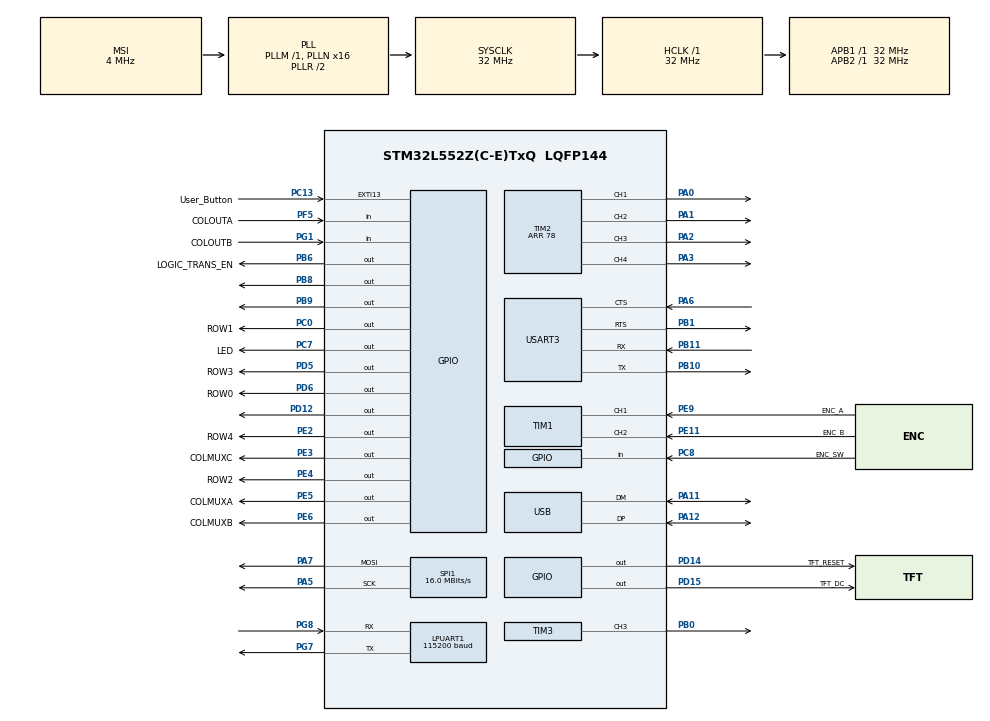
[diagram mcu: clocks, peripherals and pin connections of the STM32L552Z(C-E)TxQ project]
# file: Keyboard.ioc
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Dma.Request0=TIM2_CH4
Dma.Request1=TIM2_CH1
Dma.Request2=TIM2_CH2
Dma.Request3=TIM2_CH3
Dma.Request4=TIM3_CH3
Dma.Request5=SPI1_TX
Dma.SPI1_TX.5.Channel_PRIV_NPRIV=DMA_CHANNEL_NPRIV_DISABLE
Dma.SPI1_TX.5.Direction=DMA_MEMORY_TO_PERIPH
Dma.SPI1_TX.5.EventEnable=DISABLE
Dma.SPI1_TX.5.Instance=DMA1_Channel6
Dma.SPI1_TX.5.MemDataAlignment=DMA_MDATAALIGN_BYTE
Dma.SPI1_TX.5.MemInc=DMA_MINC_ENABLE
Dma.SPI1_TX.5.Mode=DMA_NORMAL
Dma.SPI1_TX.5.PeriphDataAlignment=DMA_PDATAALIGN_BYTE
Dma.SPI1_TX.5.PeriphInc=DMA_PINC_DISABLE
Dma.SPI1_TX.5.Polarity=HAL_DMAMUX_REQ_GEN_RISING
Dma.SPI1_TX.5.Priority=DMA_PRIORITY_LOW
Dma.SPI1_TX.5.RequestNumber=1
Dma.SPI1_TX.5.SignalID=NONE
Dma.SPI1_TX.5.SyncEnable=DISABLE
Dma.SPI1_TX.5.SyncPolarity=HAL_DMAMUX_SYNC_NO_EVENT
Dma.SPI1_TX.5.SyncRequestNumber=1
Dma.SPI1_TX.5.SyncSignalID=NONE
Dma.TIM2_CH1.1.Channel_PRIV_NPRIV=DMA_CHANNEL_NPRIV_DISABLE
Dma.TIM2_CH1.1.Direction=DMA_MEMORY_TO_PERIPH
Dma.TIM2_CH1.1.EventEnable=DISABLE
Dma.TIM2_CH1.1.Instance=DMA1_Channel2
Dma.TIM2_CH1.1.MemDataAlignment=DMA_MDATAALIGN_WORD
Dma.TIM2_CH1.1.MemInc=DMA_MINC_ENABLE
Dma.TIM2_CH1.1.Mode=DMA_NORMAL
Dma.TIM2_CH1.1.PeriphDataAlignment=DMA_PDATAALIGN_WORD
Dma.TIM2_CH1.1.PeriphInc=DMA_PINC_DISABLE
Dma.TIM2_CH1.1.Polarity=HAL_DMAMUX_REQ_GEN_RISING
Dma.TIM2_CH1.1.Priority=DMA_PRIORITY_VERY_HIGH
Dma.TIM2_CH1.1.RequestNumber=1
Dma.TIM2_CH1.1.SignalID=NONE
Dma.TIM2_CH1.1.SyncEnable=DISABLE
Dma.TIM2_CH1.1.SyncPolarity=HAL_DMAMUX_SYNC_NO_EVENT
Dma.TIM2_CH1.1.SyncRequestNumber=1
Dma.TIM2_CH1.1.SyncSignalID=NONE
Dma.TIM2_CH2.2.Channel_PRIV_NPRIV=DMA_CHANNEL_NPRIV_DISABLE
Dma.TIM2_CH2.2.Direction=DMA_MEMORY_TO_PERIPH
Dma.TIM2_CH2.2.EventEnable=DISABLE
Dma.TIM2_CH2.2.Instance=DMA1_Channel3
Dma.TIM2_CH2.2.MemDataAlignment=DMA_MDATAALIGN_WORD
Dma.TIM2_CH2.2.MemInc=DMA_MINC_ENABLE
Dma.TIM2_CH2.2.Mode=DMA_NORMAL
Dma.TIM2_CH2.2.PeriphDataAlignment=DMA_PDATAALIGN_WORD
Dma.TIM2_CH2.2.PeriphInc=DMA_PINC_DISABLE
Dma.TIM2_CH2.2.Polarity=HAL_DMAMUX_REQ_GEN_RISING
Dma.TIM2_CH2.2.Priority=DMA_PRIORITY_VERY_HIGH
Dma.TIM2_CH2.2.RequestNumber=1
Dma.TIM2_CH2.2.SignalID=NONE
Dma.TIM2_CH2.2.SyncEnable=DISABLE
Dma.TIM2_CH2.2.SyncPolarity=HAL_DMAMUX_SYNC_NO_EVENT
Dma.TIM2_CH2.2.SyncRequestNumber=1
Dma.TIM2_CH2.2.SyncSignalID=NONE
Dma.TIM2_CH3.3.Channel_PRIV_NPRIV=DMA_CHANNEL_NPRIV_DISABLE
Dma.TIM2_CH3.3.Direction=DMA_MEMORY_TO_PERIPH
Dma.TIM2_CH3.3.EventEnable=DISABLE
Dma.TIM2_CH3.3.Instance=DMA1_Channel4
Dma.TIM2_CH3.3.MemDataAlignment=DMA_MDATAALIGN_WORD
Dma.TIM2_CH3.3.MemInc=DMA_MINC_ENABLE
Dma.TIM2_CH3.3.Mode=DMA_NORMAL
Dma.TIM2_CH3.3.PeriphDataAlignment=DMA_PDATAALIGN_WORD
Dma.TIM2_CH3.3.PeriphInc=DMA_PINC_DISABLE
Dma.TIM2_CH3.3.Polarity=HAL_DMAMUX_REQ_GEN_RISING
Dma.TIM2_CH3.3.Priority=DMA_PRIORITY_VERY_HIGH
Dma.TIM2_CH3.3.RequestNumber=1
Dma.TIM2_CH3.3.SignalID=NONE
Dma.TIM2_CH3.3.SyncEnable=DISABLE
Dma.TIM2_CH3.3.SyncPolarity=HAL_DMAMUX_SYNC_NO_EVENT
Dma.TIM2_CH3.3.SyncRequestNumber=1
Dma.TIM2_CH3.3.SyncSignalID=NONE
Dma.TIM2_CH4.0.Channel_PRIV_NPRIV=DMA_CHANNEL_NPRIV_DISABLE
Dma.TIM2_CH4.0.Direction=DMA_MEMORY_TO_PERIPH
Dma.TIM2_CH4.0.EventEnable=DISABLE
Dma.TIM2_CH4.0.Instance=DMA1_Channel1
Dma.TIM2_CH4.0.MemDataAlignment=DMA_MDATAALIGN_WORD
Dma.TIM2_CH4.0.MemInc=DMA_MINC_ENABLE
Dma.TIM2_CH4.0.Mode=DMA_NORMAL
Dma.TIM2_CH4.0.PeriphDataAlignment=DMA_PDATAALIGN_WORD
Dma.TIM2_CH4.0.PeriphInc=DMA_PINC_DISABLE
Dma.TIM2_CH4.0.Polarity=HAL_DMAMUX_REQ_GEN_RISING
Dma.TIM2_CH4.0.Priority=DMA_PRIORITY_VERY_HIGH
Dma.TIM2_CH4.0.RequestNumber=1
Dma.TIM2_CH4.0.SignalID=NONE
Dma.TIM2_CH4.0.SyncEnable=DISABLE
Dma.TIM2_CH4.0.SyncPolarity=HAL_DMAMUX_SYNC_NO_EVENT
Dma.TIM2_CH4.0.SyncRequestNumber=1
Dma.TIM2_CH4.0.SyncSignalID=NONE
Dma.TIM3_CH3.4.Channel_PRIV_NPRIV=DMA_CHANNEL_NPRIV_DISABLE
Dma.TIM3_CH3.4.Direction=DMA_MEMORY_TO_PERIPH
Dma.TIM3_CH3.4.EventEnable=DISABLE
Dma.TIM3_CH3.4.Instance=DMA1_Channel5
Dma.TIM3_CH3.4.MemDataAlignment=DMA_MDATAALIGN_WORD
Dma.TIM3_CH3.4.MemInc=DMA_MINC_ENABLE
Dma.TIM3_CH3.4.Mode=DMA_NORMAL
Dma.TIM3_CH3.4.PeriphDataAlignment=DMA_PDATAALIGN_WORD
Dma.TIM3_CH3.4.PeriphInc=DMA_PINC_DISABLE
Dma.TIM3_CH3.4.Polarity=HAL_DMAMUX_REQ_GEN_RISING
Dma.TIM3_CH3.4.Priority=DMA_PRIORITY_VERY_HIGH
Dma.TIM3_CH3.4.RequestNumber=1
Dma.TIM3_CH3.4.SignalID=NONE
Dma.TIM3_CH3.4.SyncEnable=DISABLE
Dma.TIM3_CH3.4.SyncPolarity=HAL_DMAMUX_SYNC_NO_EVENT
Dma.TIM3_CH3.4.SyncRequestNumber=1
Dma.TIM3_CH3.4.SyncSignalID=NONE
LPUART1.BaudRate=115200
Mcu.Family=STM32L5
Mcu.Name=STM32L552Z(C-E)TxQ
Mcu.Package=LQFP144
NVIC.DMA1_Channel1_IRQn=true\:0\:0\:false\:false\:true\:false\:true\:true
NVIC.DMA1_Channel2_IRQn=true\:0\:0\:false\:false\:true\:false\:true\:true
NVIC.DMA1_Channel3_IRQn=true\:0\:0\:false\:false\:true\:false\:true\:true
NVIC.DMA1_Channel4_IRQn=true\:0\:0\:false\:false\:true\:false\:true\:true
NVIC.DMA1_Channel5_IRQn=true\:0\:0\:false\:false\:true\:false\:true\:true
NVIC.DMA1_Channel6_IRQn=true\:0\:0\:false\:false\:true\:false\:true\:true
NVIC.EXTI13_IRQn=true\:0\:0\:false\:false\:true\:true\:true\:true
NVIC.PriorityGroup=NVIC_PRIORITYGROUP_3
NVIC.USB_FS_IRQn=true\:0\:0\:false\:false\:true\:false\:true\:true
PA0.Signal=S_TIM2_CH1
PA1.Signal=S_TIM2_CH2
PA11.Mode=Device
PA11.Signal=USB_DM
PA12.Mode=Device
PA12.Signal=USB_DP
PA2.Signal=S_TIM2_CH3
PA3.Signal=S_TIM2_CH4
PA5.Mode=TX_Only_Simplex_Unidirect_Master
PA5.Signal=SPI1_SCK
PA6.Mode=CTS_RTS
PA6.Signal=USART3_CTS
PA7.Mode=TX_Only_Simplex_Unidirect_Master
PA7.Signal=SPI1_MOSI
PB0.Signal=S_TIM3_CH3
PB1.Mode=CTS_RTS
PB1.Signal=USART3_RTS
PB10.Mode=Asynchronous
PB10.Signal=USART3_TX
PB11.Mode=Asynchronous
PB11.Signal=USART3_RX
PB6.GPIO_Label=LOGIC_TRANS_EN
PB6.GPIO_PuPd=GPIO_PULLDOWN
PB6.Signal=GPIO_Output
PB8.Signal=GPIO_Output
PB9.Signal=GPIO_Output
PC0.GPIO_Label=ROW1
PC0.GPIO_PuPd=GPIO_PULLDOWN
PC0.PinState=GPIO_PIN_RESET
PC0.Signal=GPIO_Output
PC13.GPIO_Label=User_Button
PC13.Signal=GPXTI13
PC7.GPIO_Label=LED
PC7.GPIO_ModeDefaultOutputPP=GPIO_MODE_OUTPUT_PP
PC7.GPIO_PuPd=GPIO_PULLUP
PC7.GPIO_Speed=GPIO_SPEED_FREQ_VERY_HIGH
PC7.PinState=GPIO_PIN_RESET
PC7.Signal=GPIO_Output
PC8.GPIO_Label=ENC_SW
PC8.GPIO_PuPd=GPIO_PULLDOWN
PC8.Signal=GPIO_Input
PD12.Signal=GPIO_Output
PD14.GPIO_Label=TFT_RESET
PD14.Signal=GPIO_Output
PD15.GPIO_Label=TFT_DC
PD15.Signal=GPIO_Output
PD5.GPIO_Label=ROW3
PD5.GPIO_PuPd=GPIO_PULLDOWN
PD5.PinState=GPIO_PIN_RESET
PD5.Signal=GPIO_Output
PD6.GPIO_Label=ROW0
PD6.GPIO_PuPd=GPIO_PULLDOWN
PD6.PinState=GPIO_PIN_RESET
PD6.Signal=GPIO_Output
PE11.GPIO_Label=ENC_B
PE11.Signal=S_TIM1_CH2
PE2.GPIO_Label=ROW4
PE2.GPIO_PuPd=GPIO_PULLDOWN
PE2.PinState=GPIO_PIN_RESET
PE2.Signal=GPIO_Output
PE3.GPIO_Label=COLMUXC
PE3.Signal=GPIO_Output
PE4.GPIO_Label=ROW2
PE4.GPIO_PuPd=GPIO_PULLDOWN
PE4.PinState=GPIO_PIN_RESET
PE4.Signal=GPIO_Output
PE5.GPIO_Label=COLMUXA
PE5.PinState=GPIO_PIN_RESET
PE5.Signal=GPIO_Output
PE6.GPIO_Label=COLMUXB
PE6.Signal=GPIO_Output
PE9.GPIO_Label=ENC_A
PE9.Signal=S_TIM1_CH1
PF5.GPIO_Label=COLOUTA
PF5.Signal=GPIO_Input
PG1.GPIO_Label=COLOUTB
PG1.Signal=GPIO_Input
PG7.Mode=Asynchronous
PG7.Signal=LPUART1_TX
PG8.Mode=Asynchronous
PG8.Signal=LPUART1_RX
ProjectManager.HeapSize=0x200
ProjectManager.StackSize=0x400
ProjectManager.TargetToolchain=STM32CubeIDE
RCC.ADCFreq_Value=48000000
RCC.AHBFreq_Value=32000000
RCC.APB1Freq_Value=32000000
RCC.APB1TimFreq_Value=32000000
RCC.APB2Freq_Value=32000000
RCC.APB2TimFreq_Value=32000000
RCC.CK48CLockSelection=RCC_USBCLKSOURCE_HSI48
RCC.CortexFreq_Value=32000000
RCC.HCLKFreq_Value=32000000
RCC.HSE_VALUE=16000000
RCC.HSI48_VALUE=48000000
RCC.HSI_VALUE=16000000
RCC.LSE_VALUE=32768
RCC.MSI_VALUE=4000000
RCC.PLLN=16
RCC.PLLSAI1N=24
RCC.SYSCLKFreq_VALUE=32000000
RCC.SYSCLKSource=RCC_SYSCLKSOURCE_PLLCLK
RCC.USBFreq_Value=48000000
RCC.VCOOutputFreq_Value=64000000
SH.S_TIM1_CH1.0=TIM1_CH1,Encoder_Interface
SH.S_TIM1_CH2.0=TIM1_CH2,Encoder_Interface
SH.S_TIM2_CH1.0=TIM2_CH1,PWM Generation1 CH1
SH.S_TIM2_CH2.0=TIM2_CH2,PWM Generation2 CH2
SH.S_TIM2_CH3.0=TIM2_CH3,PWM Generation3 CH3
SH.S_TIM2_CH4.0=TIM2_CH4,PWM Generation4 CH4
SH.S_TIM3_CH3.0=TIM3_CH3,PWM Generation3 CH3
SPI1.BaudRatePrescaler=SPI_BAUDRATEPRESCALER_2
SPI1.CLKPolarity=SPI_POLARITY_HIGH
SPI1.CalculateBaudRate=16.0 MBits/s
SPI1.DataSize=SPI_DATASIZE_8BIT
SPI1.Direction=SPI_DIRECTION_2LINES
SPI1.Mode=SPI_MODE_MASTER
SPI1.VirtualType=VM_MASTER
TIM1.AutoReloadPreload=TIM_AUTORELOAD_PRELOAD_ENABLE
TIM1.EncoderMode=TIM_ENCODERMODE_TI2
TIM1.IC1Filter=10
TIM2.Channel-PWM\ Generation1\ CH1=TIM_CHANNEL_1
TIM2.Channel-PWM\ Generation2\ CH2=TIM_CHANNEL_2
TIM2.Channel-PWM\ Generation3\ CH3=TIM_CHANNEL_3
TIM2.Channel-PWM\ Generation4\ CH4=TIM_CHANNEL_4
TIM2.Period=78
TIM3.Channel-PWM\ Generation3\ CH3=TIM_CHANNEL_3
TIM3.Period=78
USART3.VirtualMode-Asynchronous=VM_ASYNC
USB_DEVICE.CLASS_NAME_FS=HID
USB_DEVICE.VirtualMode=Hid
USB_DEVICE.VirtualModeFS=Hid_FS
VP_ICACHE_VS_ICACHE.Mode=DirectMappedCache
VP_PWR_VS_DBSignals.Mode=DisableDeadBatterySignals
VP_PWR_VS_SECSignals.Mode=Security/Privilege
VP_RCC_USB.Mode=CRS SYNC Source USB
VP_TIM2_VS_ClockSourceINT.Mode=Internal
VP_USB_DEVICE_VS_USB_DEVICE_HID_FS.Mode=HID_FS
board=NUCLEO-L552ZE-Q

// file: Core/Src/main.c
/* USER CODE BEGIN Header */
/**
  ******************************************************************************
  * @file           : main.c
  * @brief          : Main program body
  ******************************************************************************
  * @attention
  *
  * Copyright (c) 2024 STMicroelectronics.
  * All rights reserved.
  *
  * This software is licensed under terms that can be found in the LICENSE file
  * in the root directory of this software component.
  * If no LICENSE file comes with this software, it is provided AS-IS.
  *
  ******************************************************************************
  */
/* USER CODE END Header */
#include "main.h"
#include "usb_device.h"

/* USER CODE BEGIN Includes */

#include "st7789.h"

/* USER CODE END Includes */

/* USER CODE BEGIN PTD */

// HID Keyboard
struct keyboardHID_t {
	uint8_t modifiers;
	uint8_t reserved;
	uint8_t key1;
	uint8_t key2;
	uint8_t key3;
	uint8_t key4;
	uint8_t key5;
	uint8_t key6;
	uint8_t media;
};

// SK6812-E
typedef union
{
  struct
  {
    uint8_t g;
    uint8_t r;
    uint8_t b;
  } color;
  uint32_t data;
} PixelRGB_t;

/* USER CODE END PTD */

/* USER CODE BEGIN PD */

#define NUM_ROWS 5

#define NEOPIXEL_ZERO 9
#define NEOPIXEL_ONE 19
#define NUM_PIXELS 14
#define DMA_BUFF_SIZE (NUM_PIXELS * 32) + 1

#define SLEEP_DELAY 30000

//*****************************************************************************
//
// HID Keyboard LED definitions as used in the first byte of the output report
// used in the BIOS keyboard protocol.
//
//*****************************************************************************
#define HID_KEYB_NUM_LOCK       0x01
#define HID_KEYB_CAPS_LOCK      0x02
#define HID_KEYB_SCROLL_LOCK    0x04
#define HID_KEYB_COMPOSE        0x08
#define HID_KEYB_KANA           0x10

//*****************************************************************************
//
// HID Keyboard key modifiers as provided in the first byte of the input report
// used in the BIOS keyboard protocol.
//
//*****************************************************************************
#define HID_KEYB_LEFT_CTRL      0x01
#define HID_KEYB_LEFT_SHIFT     0x02
#define HID_KEYB_LEFT_ALT       0x04
#define HID_KEYB_LEFT_GUI       0x08
#define HID_KEYB_RIGHT_CTRL     0x10
#define HID_KEYB_RIGHT_SHIFT    0x20
#define HID_KEYB_RIGHT_ALT      0x40
#define HID_KEYB_RIGHT_GUI      0x80

//*****************************************************************************
//
// A subset of the HID keyboard usage IDs.
//
//*****************************************************************************
#define HID_KEYB_USAGE_RESERVED 0x00
#define HID_KEYB_USAGE_ROLLOVER 0x01
#define HID_KEYB_USAGE_A        0x04
#define HID_KEYB_USAGE_B        0x05
#define HID_KEYB_USAGE_C        0x06
#define HID_KEYB_USAGE_D        0x07
#define HID_KEYB_USAGE_E        0x08
#define HID_KEYB_USAGE_F        0x09
#define HID_KEYB_USAGE_G        0x0A
#define HID_KEYB_USAGE_H        0x0B
#define HID_KEYB_USAGE_I        0x0C
#define HID_KEYB_USAGE_J        0x0D
#define HID_KEYB_USAGE_K        0x0E
#define HID_KEYB_USAGE_L        0x0F
#define HID_KEYB_USAGE_M        0x10
#define HID_KEYB_USAGE_N        0x11
#define HID_KEYB_USAGE_O        0x12
#define HID_KEYB_USAGE_P        0x13
#define HID_KEYB_USAGE_Q        0x14
#define HID_KEYB_USAGE_R        0x15
#define HID_KEYB_USAGE_S        0x16
#define HID_KEYB_USAGE_T        0x17
#define HID_KEYB_USAGE_U        0x18
#define HID_KEYB_USAGE_V        0x19
#define HID_KEYB_USAGE_W        0x1A
#define HID_KEYB_USAGE_X        0x1B
#define HID_KEYB_USAGE_Y        0x1C
#define HID_KEYB_USAGE_Z        0x1D
#define HID_KEYB_USAGE_1        0x1E
#define HID_KEYB_USAGE_2        0x1F
#define HID_KEYB_USAGE_3        0x20
#define HID_KEYB_USAGE_4        0x21
#define HID_KEYB_USAGE_5        0x22
#define HID_KEYB_USAGE_6        0x23
#define HID_KEYB_USAGE_7        0x24
#define HID_KEYB_USAGE_8        0x25
#define HID_KEYB_USAGE_9        0x26
#define HID_KEYB_USAGE_0        0x27
#define HID_KEYB_USAGE_ENTER    0x28
#define HID_KEYB_USAGE_ESCAPE   0x29
#define HID_KEYB_USAGE_BACKSPACE 0x2A
#define HID_KEYB_USAGE_TAB      0x2B
#define HID_KEYB_USAGE_SPACE    0x2C
#define HID_KEYB_USAGE_MINUS    0x2D
#define HID_KEYB_USAGE_EQUAL    0x2E
#define HID_KEYB_USAGE_LBRACKET 0x2F
#define HID_KEYB_USAGE_RBRACKET 0x30
#define HID_KEYB_USAGE_BSLASH   0x31
#define HID_KEYB_USAGE_SEMICOLON 0x33
#define HID_KEYB_USAGE_FQUOTE   0x34
#define HID_KEYB_USAGE_BQUOTE   0x35
#define HID_KEYB_USAGE_COMMA    0x36
#define HID_KEYB_USAGE_PERIOD   0x37
#define HID_KEYB_USAGE_FSLASH   0x38
#define HID_KEYB_USAGE_CAPSLOCK 0x39
#define HID_KEYB_USAGE_F1       0x3A
#define HID_KEYB_USAGE_F2       0x3B
#define HID_KEYB_USAGE_F3       0x3C
#define HID_KEYB_USAGE_F4       0x3D
#define HID_KEYB_USAGE_F5       0x3E
#define HID_KEYB_USAGE_F6       0x3F
#define HID_KEYB_USAGE_F7       0x40
#define HID_KEYB_USAGE_F8       0x41
#define HID_KEYB_USAGE_F9       0x42
#define HID_KEYB_USAGE_F10      0x43
#define HID_KEYB_USAGE_F11      0x44
#define HID_KEYB_USAGE_F12      0x45
#define HID_KEYB_USAGE_SCROLLOCK   0x47
#define HID_KEYB_USAGE_INSERT	0x49
#define HID_KEYB_USAGE_PAGE_UP  0x4B
#define HID_KEYB_USAGE_DELETE 	0x4C
#define HID_KEYB_USAGE_PAGE_DOWN   0x4E
#define HID_KEYB_USAGE_RIGHT_ARROW 0x4F
#define HID_KEYB_USAGE_LEFT_ARROW 0x50
#define HID_KEYB_USAGE_DOWN_ARROW 0x51
#define HID_KEYB_USAGE_UP_ARROW 0x52
#define HID_KEYB_USAGE_NUMLOCK  0x53
#define HID_KEYB_USAGE_KEYPAD_SLASH  0x54
#define HID_KEYB_USAGE_KEYPAD_STAR 0x55
#define HID_KEYB_USAGE_KEYPAD_MINUS 0x56
#define HID_KEYB_USAGE_KEYPAD_PLUS 0x57
#define HID_KEYB_USAGE_KEPAD_ENTER 0x58
#define HID_KEYB_USAGE_KEYPAD_1 0x59
#define HID_KEYB_USAGE_KEYPAD_2 0x5A
#define HID_KEYB_USAGE_KEYPAD_3 0x5B
#define HID_KEYB_USAGE_KEYPAD_4 0x5C
#define HID_KEYB_USAGE_KEYPAD_5 0x5D
#define HID_KEYB_USAGE_KEYPAD_6 0x5E
#define HID_KEYB_USAGE_KEYPAD_7 0x5F
#define HID_KEYB_USAGE_KEYPAD_8 0x60
#define HID_KEYB_USAGE_KEYPAD_9 0x61
#define HID_KEYB_USAGE_KEYPAD_0 0x62
#define HID_KEYB_USAGE_KEPAD_PERIOD 0x63

#define WINDOWS_KEY 0x65
#define LEFT_SHIFT 0x66
#define RIGHT_SHIFT 0x67
#define LEFT_CTRL 0x68
#define RIGHT_CTRL 0x69
#define LEFT_GUI 0x6A
#define RIGHT_GUI 0x6B
#define LEFT_ALT 0x6C
#define RIGHT_ALT 0x6D
#define CAPS_LOCK 0x6E
#define BLUETOOTH 0x6F
#define PAUSE 0xE8
#define DELETE 0x4C
#define HOME 0x4A
#define END 0x4D
#define INSERT 0x49
#define MUTE 0xEF
#define PREV 0xEA
#define NEXT 0xEB
#define CALC 0xFB
#define VOL_UP 0xE9
#define VOL_DN 0xEA
#define KEY_VOLUMEUP 0xE9 // Keyboard Volume Up
#define KEY_VOLUMEDOWN 0xEA // Keyboard Volume Down
#define APP_A 0xEF
#define APP_B 0xF0
#define FUNC_KEY 0xF1

/* USER CODE END PD */

UART_HandleTypeDef hlpuart1;
UART_HandleTypeDef huart3;

SPI_HandleTypeDef hspi1;
DMA_HandleTypeDef hdma_spi1_tx;

TIM_HandleTypeDef htim1;
TIM_HandleTypeDef htim2;
TIM_HandleTypeDef htim3;
DMA_HandleTypeDef hdma_tim2_ch4;
DMA_HandleTypeDef hdma_tim2_ch1;
DMA_HandleTypeDef hdma_tim2_ch2;
DMA_HandleTypeDef hdma_tim2_ch3;
DMA_HandleTypeDef hdma_tim3_ch3;

/* USER CODE BEGIN PV */

uint8_t High_Perf_Mode = 0;

struct keyboardHID_t keyboardHID = {0,0,0,0,0,0,0,0,0};

uint8_t KeyboardMatrix[3][5][14] = {
	{{HID_KEYB_USAGE_ESCAPE,  HID_KEYB_USAGE_1, HID_KEYB_USAGE_2, HID_KEYB_USAGE_3, HID_KEYB_USAGE_4, HID_KEYB_USAGE_5, HID_KEYB_USAGE_6, HID_KEYB_USAGE_7, HID_KEYB_USAGE_8, HID_KEYB_USAGE_9, HID_KEYB_USAGE_0, HID_KEYB_USAGE_MINUS, HID_KEYB_USAGE_EQUAL, HID_KEYB_USAGE_BACKSPACE},
    {HID_KEYB_USAGE_TAB, HID_KEYB_USAGE_Q, HID_KEYB_USAGE_W, HID_KEYB_USAGE_E, HID_KEYB_USAGE_R, HID_KEYB_USAGE_T, HID_KEYB_USAGE_Y, HID_KEYB_USAGE_U, HID_KEYB_USAGE_I, HID_KEYB_USAGE_O, HID_KEYB_USAGE_P, HID_KEYB_USAGE_LBRACKET, HID_KEYB_USAGE_RBRACKET, HID_KEYB_USAGE_BSLASH},
    {HID_KEYB_USAGE_CAPSLOCK, HID_KEYB_USAGE_A, HID_KEYB_USAGE_S, HID_KEYB_USAGE_D, HID_KEYB_USAGE_F, HID_KEYB_USAGE_G, HID_KEYB_USAGE_H, HID_KEYB_USAGE_J, HID_KEYB_USAGE_K, HID_KEYB_USAGE_L, HID_KEYB_USAGE_SEMICOLON, HID_KEYB_USAGE_FQUOTE, HID_KEYB_USAGE_ENTER, HID_KEYB_USAGE_UP_ARROW},
    {LEFT_SHIFT, HID_KEYB_USAGE_Z, HID_KEYB_USAGE_X, HID_KEYB_USAGE_C, HID_KEYB_USAGE_V, HID_KEYB_USAGE_B, HID_KEYB_USAGE_N, HID_KEYB_USAGE_M, HID_KEYB_USAGE_COMMA, HID_KEYB_USAGE_PERIOD, HID_KEYB_USAGE_FSLASH, RIGHT_SHIFT, HID_KEYB_USAGE_LEFT_ARROW, HID_KEYB_USAGE_DOWN_ARROW},
    {LEFT_CTRL, LEFT_GUI, LEFT_ALT, 0, 0, HID_KEYB_USAGE_SPACE, 0, 0, 0, RIGHT_ALT, FUNC_KEY, HID_KEYB_RIGHT_GUI, RIGHT_CTRL, HID_KEYB_USAGE_RIGHT_ARROW}},

	{{HID_KEYB_USAGE_BQUOTE,  HID_KEYB_USAGE_1, HID_KEYB_USAGE_2, HID_KEYB_USAGE_3, HID_KEYB_USAGE_4, HID_KEYB_USAGE_5, HID_KEYB_USAGE_6, HID_KEYB_USAGE_7, HID_KEYB_USAGE_8, HID_KEYB_USAGE_9, HID_KEYB_USAGE_0, HID_KEYB_USAGE_MINUS, HID_KEYB_USAGE_EQUAL, HID_KEYB_USAGE_BACKSPACE},
	{HID_KEYB_USAGE_TAB, HID_KEYB_USAGE_Q, HID_KEYB_USAGE_W, HID_KEYB_USAGE_E, HID_KEYB_USAGE_R, HID_KEYB_USAGE_T, HID_KEYB_USAGE_Y, HID_KEYB_USAGE_U, HID_KEYB_USAGE_I, HID_KEYB_USAGE_O, HID_KEYB_USAGE_P, HID_KEYB_USAGE_LBRACKET, HID_KEYB_USAGE_RBRACKET, HID_KEYB_USAGE_BSLASH},
	{HID_KEYB_USAGE_CAPSLOCK, HID_KEYB_USAGE_A, HID_KEYB_USAGE_S, HID_KEYB_USAGE_D, HID_KEYB_USAGE_F, HID_KEYB_USAGE_G, HID_KEYB_USAGE_H, HID_KEYB_USAGE_J, HID_KEYB_USAGE_K, HID_KEYB_USAGE_L, HID_KEYB_USAGE_SEMICOLON, HID_KEYB_USAGE_FQUOTE, HID_KEYB_USAGE_ENTER, HID_KEYB_USAGE_UP_ARROW},
	{LEFT_SHIFT, HID_KEYB_USAGE_Z, HID_KEYB_USAGE_X, HID_KEYB_USAGE_C, HID_KEYB_USAGE_V, HID_KEYB_USAGE_B, HID_KEYB_USAGE_N, HID_KEYB_USAGE_M, HID_KEYB_USAGE_COMMA, HID_KEYB_USAGE_PERIOD, HID_KEYB_USAGE_FSLASH, RIGHT_SHIFT, HID_KEYB_USAGE_LEFT_ARROW, HID_KEYB_USAGE_DOWN_ARROW},
	{LEFT_CTRL, LEFT_GUI, LEFT_ALT, 0, 0, HID_KEYB_USAGE_SPACE, 0, 0, 0, RIGHT_ALT, FUNC_KEY, HID_KEYB_RIGHT_GUI, RIGHT_CTRL, HID_KEYB_USAGE_RIGHT_ARROW}},

	{{HID_KEYB_USAGE_BQUOTE,  HID_KEYB_USAGE_F1, HID_KEYB_USAGE_F2, HID_KEYB_USAGE_F3, HID_KEYB_USAGE_F4, HID_KEYB_USAGE_F5, HID_KEYB_USAGE_F6, HID_KEYB_USAGE_F7, HID_KEYB_USAGE_F8, HID_KEYB_USAGE_F9, HID_KEYB_USAGE_F10, HID_KEYB_USAGE_F11, HID_KEYB_USAGE_F12, HID_KEYB_USAGE_DELETE},
	{HID_KEYB_USAGE_TAB, HID_KEYB_USAGE_Q, HID_KEYB_USAGE_W, HID_KEYB_USAGE_E, HID_KEYB_USAGE_R, HID_KEYB_USAGE_T, HID_KEYB_USAGE_Y, HID_KEYB_USAGE_U, HID_KEYB_USAGE_I, HID_KEYB_USAGE_O, HID_KEYB_USAGE_P, HID_KEYB_USAGE_LBRACKET, HID_KEYB_USAGE_RBRACKET, HID_KEYB_USAGE_BSLASH},
	{HID_KEYB_USAGE_CAPSLOCK, HID_KEYB_USAGE_A, HID_KEYB_USAGE_S, HID_KEYB_USAGE_D, HID_KEYB_USAGE_F, HID_KEYB_USAGE_G, HID_KEYB_USAGE_H, HID_KEYB_USAGE_J, HID_KEYB_USAGE_K, HID_KEYB_USAGE_L, HID_KEYB_USAGE_SEMICOLON, HID_KEYB_USAGE_FQUOTE, HID_KEYB_USAGE_ENTER, HID_KEYB_USAGE_UP_ARROW},
	{LEFT_SHIFT, HID_KEYB_USAGE_Z, HID_KEYB_USAGE_X, HID_KEYB_USAGE_C, HID_KEYB_USAGE_V, HID_KEYB_USAGE_B, HID_KEYB_USAGE_N, HID_KEYB_USAGE_M, HID_KEYB_USAGE_COMMA, HID_KEYB_USAGE_PERIOD, HID_KEYB_USAGE_FSLASH, RIGHT_SHIFT, HID_KEYB_USAGE_LEFT_ARROW, HID_KEYB_USAGE_DOWN_ARROW},
	{LEFT_CTRL, LEFT_GUI, LEFT_ALT, 0, 0, HID_KEYB_USAGE_SPACE, 0, 0, 0, RIGHT_ALT, FUNC_KEY, HID_KEYB_RIGHT_GUI, RIGHT_CTRL, HID_KEYB_USAGE_RIGHT_ARROW}},
  };

uint8_t matrix[5][14][6] = {
		{"Esc", "1", "2", "3", "4", "5", "6", "7", "8", "9", "0", "=", "-", "Back"},
		{"Tab","Q","W","E","R","T","Y","U","I","O","P","[","]","\\"},
		{"Caps","A","S","D","F","G","H","J","K","L",";","'","\n\r","Up"},
		{"LShift","Z","X","C","V","B","N","M",",",".","/","RShift","Left","Down"},
		{"LCtrl","Win","LAlt","", "", " ","","","", "RAlt","Fn","Menu","RCtrl","Right"},
};

uint8_t currentLayer = 0;

/* USER CODE END PV */

void SystemClock_Config(void);
static void MX_GPIO_Init(void);
static void MX_DMA_Init(void);
static void MX_ICACHE_Init(void);
static void MX_LPUART1_UART_Init(void);
static void MX_TIM2_Init(void);
static void MX_TIM3_Init(void);
static void MX_USART3_UART_Init(void);
static void MX_SPI1_Init(void);
static void MX_TIM1_Init(void);

/* USER CODE BEGIN 0 */

void HAL_TIM_PWM_PulseFinishedCallback(TIM_HandleTypeDef *htim)
{
	if (htim->Channel == HAL_TIM_ACTIVE_CHANNEL_1){
		HAL_TIM_PWM_Stop_DMA(htim, TIM_CHANNEL_1);
	} else if (htim->Channel == HAL_TIM_ACTIVE_CHANNEL_2){
		HAL_TIM_PWM_Stop_DMA(htim, TIM_CHANNEL_2);
	} else if (htim->Channel == HAL_TIM_ACTIVE_CHANNEL_3){
		HAL_TIM_PWM_Stop_DMA(htim, TIM_CHANNEL_3);
	} else if (htim->Channel == HAL_TIM_ACTIVE_CHANNEL_4){
		HAL_TIM_PWM_Stop_DMA(htim, TIM_CHANNEL_4);
	}
}

void AddKeyToPressedList(uint8_t keycode) {

  for (int i = 2; i < 8; i++){
    //
    // Is this key already included in the list of keys in the pressed
    // state?
    //
    if (((uint8_t*)&keyboardHID)[i] == keycode){
      //
      // Yes - drop out.
      //
      return;
    }
  }

  // not already holding, so lets add it!

  for (int i = 2; i < 8; i++){
      if (((uint8_t*)&keyboardHID)[i] == 0){
    	  ((uint8_t*)&keyboardHID)[i] = keycode;
    	  return;
      }
  }
}

void RemoveKeyFromPressedList(uint8_t keycode) {
  //
  // Find the usage code in the current list.
  //
  for (int i = 2; i < 8; i++)
  {
    if (((uint8_t*)&keyboardHID)[i] == keycode)
    {
      // found the key, shuffle everything rightward
		for (int j = i + 1; j < 8; j++){
			((uint8_t*)&keyboardHID)[j-1] = ((uint8_t*)&keyboardHID)[j];
		}
		((uint8_t*)&keyboardHID)[7] = 0; // remove a possible duplicate
  }
}
}

void PressKey(uint8_t c)
{

  switch (c)
  {
  case LEFT_SHIFT:
	keyboardHID.modifiers |= HID_KEYB_LEFT_SHIFT;
	currentLayer = 1;
    break;
  case RIGHT_SHIFT:
	keyboardHID.modifiers |= HID_KEYB_RIGHT_SHIFT;
    break;
  case LEFT_CTRL:
	  keyboardHID.modifiers |= HID_KEYB_LEFT_CTRL;
    break;
  case RIGHT_CTRL:
	  keyboardHID.modifiers |= HID_KEYB_RIGHT_CTRL;
    break;
  case LEFT_ALT:
	  keyboardHID.modifiers |= HID_KEYB_LEFT_ALT;
    break;
  case RIGHT_ALT:
	  keyboardHID.modifiers |= HID_KEYB_RIGHT_ALT;
    break;
  case LEFT_GUI:
	  keyboardHID.modifiers |= HID_KEYB_LEFT_GUI;
    break;
  case RIGHT_GUI:
	  keyboardHID.modifiers |= HID_KEYB_RIGHT_GUI;
    break;
  case CAPS_LOCK:
    //LockKeyToggle((void *)&g_sKeyboardDevice, HID_KEYB_CAPS_LOCK);
    break;
  case BLUETOOTH:
    //ToggleBluetooth();
    break;
  case FUNC_KEY:
	  currentLayer = 2;
	  return;
  case APP_A:
  case APP_B:
    return;
  case KEY_VOLUMEUP:
  case KEY_VOLUMEDOWN:
	  keyboardHID.media = c;
	  return;
  default:
	  AddKeyToPressedList(c);
    //KeyStateChange((void *)&g_sKeyboardDevice, modifierFlags, c, true);
    return;
  }
}

void ReleaseKey(uint8_t c)
{

  switch (c)
  {
  case LEFT_SHIFT:
	  keyboardHID.modifiers &= ~HID_KEYB_LEFT_SHIFT;
	  if (!(keyboardHID.modifiers & HID_KEYB_RIGHT_SHIFT)){
	      	currentLayer = 0;
	  }
    break;
  case RIGHT_SHIFT:
	  keyboardHID.modifiers &= ~HID_KEYB_RIGHT_SHIFT;
	  if (!(keyboardHID.modifiers & HID_KEYB_LEFT_SHIFT)){
			currentLayer = 0;
	  }
    break;
  case LEFT_CTRL:
	  keyboardHID.modifiers &= ~HID_KEYB_LEFT_CTRL;
    break;
  case RIGHT_CTRL:
	  keyboardHID.modifiers &= ~HID_KEYB_RIGHT_CTRL;
    break;
  case LEFT_ALT:
	  keyboardHID.modifiers &= ~HID_KEYB_LEFT_ALT;
    break;
  case RIGHT_ALT:
	  keyboardHID.modifiers &= ~HID_KEYB_RIGHT_ALT;
    break;
  case LEFT_GUI:
	  keyboardHID.modifiers &= ~HID_KEYB_LEFT_GUI;
    break;
  case RIGHT_GUI:
	  keyboardHID.modifiers &= ~HID_KEYB_RIGHT_GUI;
    break;
  case FUNC_KEY:
  	  currentLayer = 0;
  	  return;
  case APP_A:
  case APP_B:
    return;
  case KEY_VOLUMEUP:
  case KEY_VOLUMEDOWN:
	  keyboardHID.media = 0;
	  return;
  default:
	  RemoveKeyFromPressedList(c);
    return;
  }
}

/* USER CODE END 0 */

int main(void)
{

  /* USER CODE BEGIN 1 */

	PixelRGB_t pixel[NUM_ROWS][NUM_PIXELS] = {0};
	  uint32_t dmaBuffer[NUM_ROWS][DMA_BUFF_SIZE] = {0};
	  uint32_t *pBuff;
	  int i, j, k;
	  uint16_t stepSize;

  /* USER CODE END 1 */

  /* MCU Configuration--------------------------------------------------------*/

  /* Reset of all peripherals, Initializes the Flash interface and the Systick. */
  HAL_Init();

  /* Configure the system clock */
  SystemClock_Config();

  /* Initialize all configured peripherals */
  MX_GPIO_Init();
  MX_DMA_Init();
  MX_ICACHE_Init();
  MX_LPUART1_UART_Init();
  MX_USB_Device_Init();
  MX_TIM2_Init();
  MX_TIM3_Init();
  MX_USART3_UART_Init();
  MX_SPI1_Init();
  MX_TIM1_Init();
  /* USER CODE BEGIN 2 */
  USBD_HandleTypeDef* device = MX_USB_Device_Init();
  uint8_t lastState[5][14];
   uint8_t lastLastState[5][14];
   uint8_t MSG[75] = {'\0'};

   int count = 0;

   HAL_TIM_Encoder_Start(&htim1, TIM_CHANNEL_ALL);

  ST7789_Init();

  HAL_GPIO_TogglePin(GPIOC, GPIO_PIN_7);

  /* USER CODE END 2 */

  /* Infinite loop */
  /* USER CODE BEGIN WHILE */

  //ST7789_Test();
  ST7789_DrawImage(0, 0, 320, 172, (uint16_t *)subaru);

   HAL_GPIO_WritePin(LOGIC_TRANS_EN_GPIO_Port, LOGIC_TRANS_EN_Pin, GPIO_PIN_SET);

   int timeSinceLastPress = 0;

   	   k = 0;
     stepSize = 3;

     uint8_t LED_Off = 0;

     int lastEncVal = 0;

    while (1){
   	uint8_t wrote = 0;
   	HAL_GPIO_WritePin(GPIOB, GPIO_PIN_8, GPIO_PIN_SET);
   	HAL_GPIO_TogglePin(GPIOC, GPIO_PIN_7);

   	//ReleaseKey(KEY_VOLUMEUP);
   	//ReleaseKey(KEY_VOLUMEDOWN);

   	int16_t encVal = (int16_t) TIM1->CNT;

   	if (encVal < lastEncVal){
   		sprintf(MSG, "%d Volume Up, Encoder Ticks = %d\n\r", count, encVal);
		HAL_UART_Transmit(&hlpuart1, MSG, sizeof(MSG), 100);
		PressKey(KEY_VOLUMEUP);
   	} else if (encVal > lastEncVal){
   		sprintf(MSG, "%d Volume Down, Encoder Ticks = %d\n\r", count, encVal);
		HAL_UART_Transmit(&hlpuart1, MSG, sizeof(MSG), 100);
		PressKey(KEY_VOLUMEDOWN);
   	}

   	lastEncVal = encVal;
   	count++;

   	// iterate through all rows and columns
   for (int row = 0; row < 5; row++){

   	       	//HAL_GPIO_WritePin(ROW0_GPIO_Port, ROW0_Pin, GPIO_PIN_SET);

	  HAL_GPIO_WritePin(ROW0_GPIO_Port, ROW0_Pin, GPIO_PIN_RESET);
	  HAL_GPIO_WritePin(ROW1_GPIO_Port, ROW1_Pin, GPIO_PIN_RESET);
	  HAL_GPIO_WritePin(ROW2_GPIO_Port, ROW2_Pin, GPIO_PIN_RESET);
	  HAL_GPIO_WritePin(ROW3_GPIO_Port, ROW3_Pin, GPIO_PIN_RESET);
	  HAL_GPIO_WritePin(ROW4_GPIO_Port, ROW4_Pin, GPIO_PIN_RESET);

		switch (row){
			case 0:
				HAL_GPIO_WritePin(ROW0_GPIO_Port, ROW0_Pin, GPIO_PIN_SET);
				break;
			case 1:
				HAL_GPIO_WritePin(ROW1_GPIO_Port, ROW1_Pin, GPIO_PIN_SET);
				break;
			case 2:
				HAL_GPIO_WritePin(ROW2_GPIO_Port, ROW2_Pin, GPIO_PIN_SET);
				break;
			case 3:
				HAL_GPIO_WritePin(ROW3_GPIO_Port, ROW3_Pin, GPIO_PIN_SET);
				break;
			case 4:
				HAL_GPIO_WritePin(ROW4_GPIO_Port, ROW4_Pin, GPIO_PIN_SET);
				break;
		}

		for (int col = 0; col < 14; col += 2){

			// write to muxes

			HAL_GPIO_WritePin(COLMUXA_GPIO_Port, COLMUXA_Pin, (col >> 1) & 0b001);
			HAL_GPIO_WritePin(COLMUXB_GPIO_Port, COLMUXB_Pin, (col >> 1) & 0b010);
			HAL_GPIO_WritePin(COLMUXC_GPIO_Port, COLMUXC_Pin, (col >> 1) & 0b100);

			uint8_t colA = HAL_GPIO_ReadPin(COLOUTA_GPIO_Port, COLOUTA_Pin);
			uint8_t colB = HAL_GPIO_ReadPin(COLOUTB_GPIO_Port, COLOUTB_Pin);

			// read from muxes
			if (colA && lastState[row][col + 0] == 1 && lastLastState[row][col + 0] == 0){
				timeSinceLastPress = 0;
				PressKey(KeyboardMatrix[currentLayer][row][col + 0]);
				//HAL_UART_Transmit(&hlpuart1, matrix[row][col + 0], sizeof(matrix[row][col + 0]), 100);
				//HAL_UART_Transmit(&hlpuart1, " ", sizeof(" "), 100)
			} else if (!colA && lastState[row][col + 0] == 0 && lastLastState[row][col + 0] == 1){
				timeSinceLastPress = 0;
				ReleaseKey(KeyboardMatrix[currentLayer][row][col + 0]);
			}

			if (colB && lastState[row][col + 1] == 1 && lastLastState[row][col + 1] == 0){
				timeSinceLastPress = 0;
				PressKey(KeyboardMatrix[currentLayer][row][col + 1]);
				//HAL_UART_Transmit(&hlpuart1, matrix[row][col + 1], sizeof(matrix[row][col + 1]), 100);
				//HAL_UART_Transmit(&hlpuart1, " ", sizeof(" "), 100);
			} else if (!colB && lastState[row][col + 1] == 0 && lastLastState[row][col + 1] == 1){
				timeSinceLastPress = 0;
				ReleaseKey(KeyboardMatrix[currentLayer][row][col + 1]);
			}

			lastLastState[row][col + 0] = lastState[row][col + 0];
			lastLastState[row][col + 1] = lastState[row][col + 1];
			lastState[row][col + 0] = colA;
			lastState[row][col + 1] = colB;
		}
	   }

	   HAL_GPIO_WritePin(GPIOB, GPIO_PIN_8, GPIO_PIN_RESET);

	   USBD_HID_SendReport(device, &keyboardHID, sizeof(struct keyboardHID_t));

	   HAL_GPIO_WritePin(GPIOB, GPIO_PIN_9, GPIO_PIN_SET);
	   // LEDs

	   // turnoff LEDs if we are inactive
	   if (!High_Perf_Mode && timeSinceLastPress++ < SLEEP_DELAY){
		   LED_Off = 0;

		   k = (k + stepSize) % 765;

		   	   for (int x = 0; x < NUM_ROWS; x++){

		   		   if (k < 255)
		   		   {
		   			 pixel[x][0].color.g = 254 - k; //[254, 0]
		   			 pixel[x][0].color.r =  k + 1;  //[1, 255]
		   			 pixel[x][0].color.b = 0;
		   		   }
		   		   else if (k < 510)
		   		   {
		   			 pixel[x][0].color.g = 0;
		   			 pixel[x][0].color.r = 509 - k; //[254, 0]
		   			 pixel[x][0].color.b = k - 254; //[1, 255]
		   			 j++;
		   		   }
		   		   else if (k < 765)
		   		   {
		   			 pixel[x][0].color.g = k - 509; //[1, 255];
		   			 pixel[x][0].color.r = 0;
		   			 pixel[x][0].color.b = 764 - k; //[254, 0]
		   		   }

		   			//not so bright
		   		   pixel[x][0].color.g >>= 4;
		   		   pixel[x][0].color.r >>= 4;
		   		   pixel[x][0].color.b >>= 4;

		   		   pBuff = dmaBuffer[x];
		   		   for (i = 0; i < NUM_PIXELS; i++)
		   		   {
		   			  for (j = 23; j >= 0; j--)
		   			  {
		   				if ((pixel[x][i].data >> j) & 0x01)
		   				{
		   				  *pBuff = NEOPIXEL_ONE;
		   				}
		   				else
		   				{
		   				  *pBuff = NEOPIXEL_ZERO;
		   				}
		   				pBuff++;
		   			}
		   		   }
		   		   dmaBuffer[x][DMA_BUFF_SIZE - 1] = 0; // last element must be 0!

		   		   switch (x){
		   			   case 0: // ROW0 = PA3 = T2C4
		   				   HAL_TIM_PWM_Start_DMA(&htim2, TIM_CHANNEL_4, dmaBuffer[x], DMA_BUFF_SIZE);
		   				   break;
		   			   case 1: // ROW1 = PA2 = T2C3
		   				   HAL_TIM_PWM_Start_DMA(&htim2, TIM_CHANNEL_3, dmaBuffer[x], DMA_BUFF_SIZE);
		   				   break;
		   			   case 2: // ROW2 = PA1 = T2C2
		   				   HAL_TIM_PWM_Start_DMA(&htim2, TIM_CHANNEL_2, dmaBuffer[x], DMA_BUFF_SIZE);
		   				   break;
		   			   case 3: // ROW3 = PB0 = T3C3
		   				   HAL_TIM_PWM_Start_DMA(&htim3, TIM_CHANNEL_3, dmaBuffer[x], DMA_BUFF_SIZE);
		   				   break;
		   			   case 4: // ROW4 = PA0 = T2C1
		   				   HAL_TIM_PWM_Start_DMA(&htim2, TIM_CHANNEL_1, dmaBuffer[x], DMA_BUFF_SIZE);
		   				   break;
		   		   }

		   		   for (i = (NUM_PIXELS - 1); i > 0; i--)
		   		   {
		   			 pixel[x][i].data = pixel[x][i - 1].data;
		   		   }

		   	 }

	   } else {

		   if (!LED_Off){

			   LED_Off = 1;

			   uint32_t buff[DMA_BUFF_SIZE];
			   uint32_t* p = buff;
			   for (i = 0; i < NUM_PIXELS; i++)
			   {
				  for (j = 23; j >= 0; j--)
				  {
					  *p = NEOPIXEL_ZERO;
					p++;
				}
			   }
			   buff[DMA_BUFF_SIZE - 1] = 0; // last element must be 0!

			   HAL_TIM_PWM_Start_DMA(&htim2, TIM_CHANNEL_1, buff, DMA_BUFF_SIZE);
			   HAL_TIM_PWM_Start_DMA(&htim2, TIM_CHANNEL_2, buff, DMA_BUFF_SIZE);
			   HAL_TIM_PWM_Start_DMA(&htim2, TIM_CHANNEL_3, buff, DMA_BUFF_SIZE);
			   HAL_TIM_PWM_Start_DMA(&htim2, TIM_CHANNEL_4, buff, DMA_BUFF_SIZE);
			   HAL_TIM_PWM_Start_DMA(&htim3, TIM_CHANNEL_3, buff, DMA_BUFF_SIZE);

			   HAL_Delay(10);

			   HAL_TIM_PWM_Stop_DMA(&htim2, TIM_CHANNEL_1);
			   HAL_TIM_PWM_Stop_DMA(&htim2, TIM_CHANNEL_2);
			   HAL_TIM_PWM_Stop_DMA(&htim2, TIM_CHANNEL_3);
			   HAL_TIM_PWM_Stop_DMA(&htim2, TIM_CHANNEL_4);
			   HAL_TIM_PWM_Stop_DMA(&htim3, TIM_CHANNEL_3);
		   }
	   }

	   HAL_GPIO_WritePin(GPIOB, GPIO_PIN_9, GPIO_PIN_RESET);

	   if (!High_Perf_Mode){
	   HAL_Delay(5);
	   }

    /* USER CODE END WHILE */

  }
}

void SystemClock_Config(void)
{
  RCC_OscInitTypeDef RCC_OscInitStruct = {0};
  RCC_ClkInitTypeDef RCC_ClkInitStruct = {0};
  RCC_CRSInitTypeDef RCC_CRSInitStruct = {0};

  /** Configure the main internal regulator output voltage
  */
  if (HAL_PWREx_ControlVoltageScaling(PWR_REGULATOR_VOLTAGE_SCALE1) != HAL_OK)
  {
    Error_Handler();
  }

  /** Initializes the RCC Oscillators according to the specified parameters
  * in the RCC_OscInitTypeDef structure.
  */
  RCC_OscInitStruct.OscillatorType = RCC_OSCILLATORTYPE_HSI48|RCC_OSCILLATORTYPE_MSI;
  RCC_OscInitStruct.HSI48State = RCC_HSI48_ON;
  RCC_OscInitStruct.MSIState = RCC_MSI_ON;
  RCC_OscInitStruct.MSICalibrationValue = RCC_MSICALIBRATION_DEFAULT;
  RCC_OscInitStruct.MSIClockRange = RCC_MSIRANGE_6;
  RCC_OscInitStruct.PLL.PLLState = RCC_PLL_ON;
  RCC_OscInitStruct.PLL.PLLSource = RCC_PLLSOURCE_MSI;
  RCC_OscInitStruct.PLL.PLLM = 1;
  RCC_OscInitStruct.PLL.PLLN = 16;
  RCC_OscInitStruct.PLL.PLLP = RCC_PLLP_DIV7;
  RCC_OscInitStruct.PLL.PLLQ = RCC_PLLQ_DIV2;
  RCC_OscInitStruct.PLL.PLLR = RCC_PLLR_DIV2;
  if (HAL_RCC_OscConfig(&RCC_OscInitStruct) != HAL_OK)
  {
    Error_Handler();
  }

  /** Initializes the CPU, AHB and APB buses clocks
  */
  RCC_ClkInitStruct.ClockType = RCC_CLOCKTYPE_HCLK|RCC_CLOCKTYPE_SYSCLK
                              |RCC_CLOCKTYPE_PCLK1|RCC_CLOCKTYPE_PCLK2;
  RCC_ClkInitStruct.SYSCLKSource = RCC_SYSCLKSOURCE_PLLCLK;
  RCC_ClkInitStruct.AHBCLKDivider = RCC_SYSCLK_DIV1;
  RCC_ClkInitStruct.APB1CLKDivider = RCC_HCLK_DIV1;
  RCC_ClkInitStruct.APB2CLKDivider = RCC_HCLK_DIV1;

  if (HAL_RCC_ClockConfig(&RCC_ClkInitStruct, FLASH_LATENCY_1) != HAL_OK)
  {
    Error_Handler();
  }

  /** Enable the SYSCFG APB clock
  */
  __HAL_RCC_CRS_CLK_ENABLE();

  /** Configures CRS
  */
  RCC_CRSInitStruct.Prescaler = RCC_CRS_SYNC_DIV1;
  RCC_CRSInitStruct.Source = RCC_CRS_SYNC_SOURCE_USB;
  RCC_CRSInitStruct.Polarity = RCC_CRS_SYNC_POLARITY_RISING;
  RCC_CRSInitStruct.ReloadValue = __HAL_RCC_CRS_RELOADVALUE_CALCULATE(48000000,1000);
  RCC_CRSInitStruct.ErrorLimitValue = 34;
  RCC_CRSInitStruct.HSI48CalibrationValue = 32;

  HAL_RCCEx_CRSConfig(&RCC_CRSInitStruct);
}

static void MX_ICACHE_Init(void)
{

  /** Enable instruction cache in 1-way (direct mapped cache)
  */
  if (HAL_ICACHE_ConfigAssociativityMode(ICACHE_1WAY) != HAL_OK)
  {
    Error_Handler();
  }
  if (HAL_ICACHE_Enable() != HAL_OK)
  {
    Error_Handler();
  }

}

static void MX_LPUART1_UART_Init(void)
{

  hlpuart1.Instance = LPUART1;
  hlpuart1.Init.BaudRate = 115200;
  hlpuart1.Init.WordLength = UART_WORDLENGTH_8B;
  hlpuart1.Init.StopBits = UART_STOPBITS_1;
  hlpuart1.Init.Parity = UART_PARITY_NONE;
  hlpuart1.Init.Mode = UART_MODE_TX_RX;
  hlpuart1.Init.HwFlowCtl = UART_HWCONTROL_NONE;
  hlpuart1.Init.OneBitSampling = UART_ONE_BIT_SAMPLE_DISABLE;
  hlpuart1.Init.ClockPrescaler = UART_PRESCALER_DIV1;
  hlpuart1.AdvancedInit.AdvFeatureInit = UART_ADVFEATURE_NO_INIT;
  hlpuart1.FifoMode = UART_FIFOMODE_DISABLE;
  if (HAL_UART_Init(&hlpuart1) != HAL_OK)
  {
    Error_Handler();
  }
  if (HAL_UARTEx_SetTxFifoThreshold(&hlpuart1, UART_TXFIFO_THRESHOLD_1_8) != HAL_OK)
  {
    Error_Handler();
  }
  if (HAL_UARTEx_SetRxFifoThreshold(&hlpuart1, UART_RXFIFO_THRESHOLD_1_8) != HAL_OK)
  {
    Error_Handler();
  }
  if (HAL_UARTEx_DisableFifoMode(&hlpuart1) != HAL_OK)
  {
    Error_Handler();
  }

}

static void MX_USART3_UART_Init(void)
{

  huart3.Instance = USART3;
  huart3.Init.BaudRate = 115200;
  huart3.Init.WordLength = UART_WORDLENGTH_8B;
  huart3.Init.StopBits = UART_STOPBITS_1;
  huart3.Init.Parity = UART_PARITY_NONE;
  huart3.Init.Mode = UART_MODE_TX_RX;
  huart3.Init.HwFlowCtl = UART_HWCONTROL_RTS_CTS;
  huart3.Init.OverSampling = UART_OVERSAMPLING_16;
  huart3.Init.OneBitSampling = UART_ONE_BIT_SAMPLE_DISABLE;
  huart3.Init.ClockPrescaler = UART_PRESCALER_DIV1;
  huart3.AdvancedInit.AdvFeatureInit = UART_ADVFEATURE_NO_INIT;
  if (HAL_UART_Init(&huart3) != HAL_OK)
  {
    Error_Handler();
  }
  if (HAL_UARTEx_SetTxFifoThreshold(&huart3, UART_TXFIFO_THRESHOLD_1_8) != HAL_OK)
  {
    Error_Handler();
  }
  if (HAL_UARTEx_SetRxFifoThreshold(&huart3, UART_RXFIFO_THRESHOLD_1_8) != HAL_OK)
  {
    Error_Handler();
  }
  if (HAL_UARTEx_DisableFifoMode(&huart3) != HAL_OK)
  {
    Error_Handler();
  }

}

static void MX_SPI1_Init(void)
{

  /* SPI1 parameter configuration*/
  hspi1.Instance = SPI1;
  hspi1.Init.Mode = SPI_MODE_MASTER;
  hspi1.Init.Direction = SPI_DIRECTION_2LINES;
  hspi1.Init.DataSize = SPI_DATASIZE_8BIT;
  hspi1.Init.CLKPolarity = SPI_POLARITY_HIGH;
  hspi1.Init.CLKPhase = SPI_PHASE_1EDGE;
  hspi1.Init.NSS = SPI_NSS_SOFT;
  hspi1.Init.BaudRatePrescaler = SPI_BAUDRATEPRESCALER_2;
  hspi1.Init.FirstBit = SPI_FIRSTBIT_MSB;
  hspi1.Init.TIMode = SPI_TIMODE_DISABLE;
  hspi1.Init.CRCCalculation = SPI_CRCCALCULATION_DISABLE;
  hspi1.Init.CRCPolynomial = 7;
  hspi1.Init.CRCLength = SPI_CRC_LENGTH_DATASIZE;
  hspi1.Init.NSSPMode = SPI_NSS_PULSE_ENABLE;
  if (HAL_SPI_Init(&hspi1) != HAL_OK)
  {
    Error_Handler();
  }

}

static void MX_TIM1_Init(void)
{

  TIM_Encoder_InitTypeDef sConfig = {0};
  TIM_MasterConfigTypeDef sMasterConfig = {0};

  htim1.Instance = TIM1;
  htim1.Init.Prescaler = 0;
  htim1.Init.CounterMode = TIM_COUNTERMODE_UP;
  htim1.Init.Period = 65535;
  htim1.Init.ClockDivision = TIM_CLOCKDIVISION_DIV1;
  htim1.Init.RepetitionCounter = 0;
  htim1.Init.AutoReloadPreload = TIM_AUTORELOAD_PRELOAD_ENABLE;
  sConfig.EncoderMode = TIM_ENCODERMODE_TI2;
  sConfig.IC1Polarity = TIM_ICPOLARITY_RISING;
  sConfig.IC1Selection = TIM_ICSELECTION_DIRECTTI;
  sConfig.IC1Prescaler = TIM_ICPSC_DIV1;
  sConfig.IC1Filter = 10;
  sConfig.IC2Polarity = TIM_ICPOLARITY_RISING;
  sConfig.IC2Selection = TIM_ICSELECTION_DIRECTTI;
  sConfig.IC2Prescaler = TIM_ICPSC_DIV1;
  sConfig.IC2Filter = 0;
  if (HAL_TIM_Encoder_Init(&htim1, &sConfig) != HAL_OK)
  {
    Error_Handler();
  }
  sMasterConfig.MasterOutputTrigger = TIM_TRGO_RESET;
  sMasterConfig.MasterOutputTrigger2 = TIM_TRGO2_RESET;
  sMasterConfig.MasterSlaveMode = TIM_MASTERSLAVEMODE_DISABLE;
  if (HAL_TIMEx_MasterConfigSynchronization(&htim1, &sMasterConfig) != HAL_OK)
  {
    Error_Handler();
  }

}

static void MX_TIM2_Init(void)
{

  TIM_ClockConfigTypeDef sClockSourceConfig = {0};
  TIM_MasterConfigTypeDef sMasterConfig = {0};
  TIM_OC_InitTypeDef sConfigOC = {0};

  htim2.Instance = TIM2;
  htim2.Init.Prescaler = 0;
  htim2.Init.CounterMode = TIM_COUNTERMODE_UP;
  htim2.Init.Period = 78;
  htim2.Init.ClockDivision = TIM_CLOCKDIVISION_DIV1;
  htim2.Init.AutoReloadPreload = TIM_AUTORELOAD_PRELOAD_DISABLE;
  if (HAL_TIM_Base_Init(&htim2) != HAL_OK)
  {
    Error_Handler();
  }
  sClockSourceConfig.ClockSource = TIM_CLOCKSOURCE_INTERNAL;
  if (HAL_TIM_ConfigClockSource(&htim2, &sClockSourceConfig) != HAL_OK)
  {
    Error_Handler();
  }
  if (HAL_TIM_PWM_Init(&htim2) != HAL_OK)
  {
    Error_Handler();
  }
  sMasterConfig.MasterOutputTrigger = TIM_TRGO_RESET;
  sMasterConfig.MasterSlaveMode = TIM_MASTERSLAVEMODE_DISABLE;
  if (HAL_TIMEx_MasterConfigSynchronization(&htim2, &sMasterConfig) != HAL_OK)
  {
    Error_Handler();
  }
  sConfigOC.OCMode = TIM_OCMODE_PWM1;
  sConfigOC.Pulse = 0;
  sConfigOC.OCPolarity = TIM_OCPOLARITY_HIGH;
  sConfigOC.OCFastMode = TIM_OCFAST_DISABLE;
  if (HAL_TIM_PWM_ConfigChannel(&htim2, &sConfigOC, TIM_CHANNEL_1) != HAL_OK)
  {
    Error_Handler();
  }
  if (HAL_TIM_PWM_ConfigChannel(&htim2, &sConfigOC, TIM_CHANNEL_2) != HAL_OK)
  {
    Error_Handler();
  }
  if (HAL_TIM_PWM_ConfigChannel(&htim2, &sConfigOC, TIM_CHANNEL_3) != HAL_OK)
  {
    Error_Handler();
  }
  if (HAL_TIM_PWM_ConfigChannel(&htim2, &sConfigOC, TIM_CHANNEL_4) != HAL_OK)
  {
    Error_Handler();
  }
  HAL_TIM_MspPostInit(&htim2);

}

static void MX_TIM3_Init(void)
{

  TIM_ClockConfigTypeDef sClockSourceConfig = {0};
  TIM_MasterConfigTypeDef sMasterConfig = {0};
  TIM_OC_InitTypeDef sConfigOC = {0};

  htim3.Instance = TIM3;
  htim3.Init.Prescaler = 0;
  htim3.Init.CounterMode = TIM_COUNTERMODE_UP;
  htim3.Init.Period = 78;
  htim3.Init.ClockDivision = TIM_CLOCKDIVISION_DIV1;
  htim3.Init.AutoReloadPreload = TIM_AUTORELOAD_PRELOAD_DISABLE;
  if (HAL_TIM_Base_Init(&htim3) != HAL_OK)
  {
    Error_Handler();
  }
  sClockSourceConfig.ClockSource = TIM_CLOCKSOURCE_INTERNAL;
  if (HAL_TIM_ConfigClockSource(&htim3, &sClockSourceConfig) != HAL_OK)
  {
    Error_Handler();
  }
  if (HAL_TIM_PWM_Init(&htim3) != HAL_OK)
  {
    Error_Handler();
  }
  sMasterConfig.MasterOutputTrigger = TIM_TRGO_RESET;
  sMasterConfig.MasterSlaveMode = TIM_MASTERSLAVEMODE_DISABLE;
  if (HAL_TIMEx_MasterConfigSynchronization(&htim3, &sMasterConfig) != HAL_OK)
  {
    Error_Handler();
  }
  sConfigOC.OCMode = TIM_OCMODE_PWM1;
  sConfigOC.Pulse = 0;
  sConfigOC.OCPolarity = TIM_OCPOLARITY_HIGH;
  sConfigOC.OCFastMode = TIM_OCFAST_DISABLE;
  if (HAL_TIM_PWM_ConfigChannel(&htim3, &sConfigOC, TIM_CHANNEL_3) != HAL_OK)
  {
    Error_Handler();
  }
  HAL_TIM_MspPostInit(&htim3);

}

static void MX_DMA_Init(void)
{

  /* DMA controller clock enable */
  __HAL_RCC_DMAMUX1_CLK_ENABLE();
  __HAL_RCC_DMA1_CLK_ENABLE();

  /* DMA interrupt init */
  /* DMA1_Channel1_IRQn interrupt configuration */
  HAL_NVIC_SetPriority(DMA1_Channel1_IRQn, 0, 0);
  HAL_NVIC_EnableIRQ(DMA1_Channel1_IRQn);
  /* DMA1_Channel2_IRQn interrupt configuration */
  HAL_NVIC_SetPriority(DMA1_Channel2_IRQn, 0, 0);
  HAL_NVIC_EnableIRQ(DMA1_Channel2_IRQn);
  /* DMA1_Channel3_IRQn interrupt configuration */
  HAL_NVIC_SetPriority(DMA1_Channel3_IRQn, 0, 0);
  HAL_NVIC_EnableIRQ(DMA1_Channel3_IRQn);
  /* DMA1_Channel4_IRQn interrupt configuration */
  HAL_NVIC_SetPriority(DMA1_Channel4_IRQn, 0, 0);
  HAL_NVIC_EnableIRQ(DMA1_Channel4_IRQn);
  /* DMA1_Channel5_IRQn interrupt configuration */
  HAL_NVIC_SetPriority(DMA1_Channel5_IRQn, 0, 0);
  HAL_NVIC_EnableIRQ(DMA1_Channel5_IRQn);
  /* DMA1_Channel6_IRQn interrupt configuration */
  HAL_NVIC_SetPriority(DMA1_Channel6_IRQn, 0, 0);
  HAL_NVIC_EnableIRQ(DMA1_Channel6_IRQn);

}

static void MX_GPIO_Init(void)
{
  GPIO_InitTypeDef GPIO_InitStruct = {0};

  /* GPIO Ports Clock Enable */
  __HAL_RCC_GPIOE_CLK_ENABLE();
  __HAL_RCC_GPIOC_CLK_ENABLE();
  __HAL_RCC_GPIOF_CLK_ENABLE();
  __HAL_RCC_GPIOA_CLK_ENABLE();
  __HAL_RCC_GPIOB_CLK_ENABLE();
  __HAL_RCC_GPIOG_CLK_ENABLE();
  __HAL_RCC_GPIOD_CLK_ENABLE();
  HAL_PWREx_EnableVddIO2();

  /*Configure GPIO pin Output Level */
  HAL_GPIO_WritePin(GPIOE, ROW4_Pin|COLMUXC_Pin|ROW2_Pin|COLMUXA_Pin
                          |COLMUXB_Pin, GPIO_PIN_RESET);

  /*Configure GPIO pin Output Level */
  HAL_GPIO_WritePin(GPIOC, ROW1_Pin|GPIO_PIN_7, GPIO_PIN_RESET);

  /*Configure GPIO pin Output Level */
  HAL_GPIO_WritePin(GPIOD, GPIO_PIN_12|TFT_RESET_Pin|TFT_DC_Pin|ROW3_Pin
                          |ROW0_Pin, GPIO_PIN_RESET);

  /*Configure GPIO pin Output Level */
  HAL_GPIO_WritePin(GPIOB, LOGIC_TRANS_EN_Pin|GPIO_PIN_8|GPIO_PIN_9, GPIO_PIN_RESET);

  /*Configure GPIO pins : ROW4_Pin ROW2_Pin */
  GPIO_InitStruct.Pin = ROW4_Pin|ROW2_Pin;
  GPIO_InitStruct.Mode = GPIO_MODE_OUTPUT_PP;
  GPIO_InitStruct.Pull = GPIO_PULLDOWN;
  GPIO_InitStruct.Speed = GPIO_SPEED_FREQ_LOW;
  HAL_GPIO_Init(GPIOE, &GPIO_InitStruct);

  /*Configure GPIO pins : COLMUXC_Pin COLMUXA_Pin COLMUXB_Pin */
  GPIO_InitStruct.Pin = COLMUXC_Pin|COLMUXA_Pin|COLMUXB_Pin;
  GPIO_InitStruct.Mode = GPIO_MODE_OUTPUT_PP;
  GPIO_InitStruct.Pull = GPIO_NOPULL;
  GPIO_InitStruct.Speed = GPIO_SPEED_FREQ_LOW;
  HAL_GPIO_Init(GPIOE, &GPIO_InitStruct);

  /*Configure GPIO pin : User_Button_Pin */
  GPIO_InitStruct.Pin = User_Button_Pin;
  GPIO_InitStruct.Mode = GPIO_MODE_IT_RISING;
  GPIO_InitStruct.Pull = GPIO_NOPULL;
  HAL_GPIO_Init(User_Button_GPIO_Port, &GPIO_InitStruct);

  /*Configure GPIO pin : COLOUTA_Pin */
  GPIO_InitStruct.Pin = COLOUTA_Pin;
  GPIO_InitStruct.Mode = GPIO_MODE_INPUT;
  GPIO_InitStruct.Pull = GPIO_NOPULL;
  HAL_GPIO_Init(COLOUTA_GPIO_Port, &GPIO_InitStruct);

  /*Configure GPIO pin : ROW1_Pin */
  GPIO_InitStruct.Pin = ROW1_Pin;
  GPIO_InitStruct.Mode = GPIO_MODE_OUTPUT_PP;
  GPIO_InitStruct.Pull = GPIO_PULLDOWN;
  GPIO_InitStruct.Speed = GPIO_SPEED_FREQ_LOW;
  HAL_GPIO_Init(ROW1_GPIO_Port, &GPIO_InitStruct);

  /*Configure GPIO pin : COLOUTB_Pin */
  GPIO_InitStruct.Pin = COLOUTB_Pin;
  GPIO_InitStruct.Mode = GPIO_MODE_INPUT;
  GPIO_InitStruct.Pull = GPIO_NOPULL;
  HAL_GPIO_Init(COLOUTB_GPIO_Port, &GPIO_InitStruct);

  /*Configure GPIO pins : PD12 TFT_RESET_Pin TFT_DC_Pin */
  GPIO_InitStruct.Pin = GPIO_PIN_12|TFT_RESET_Pin|TFT_DC_Pin;
  GPIO_InitStruct.Mode = GPIO_MODE_OUTPUT_PP;
  GPIO_InitStruct.Pull = GPIO_NOPULL;
  GPIO_InitStruct.Speed = GPIO_SPEED_FREQ_LOW;
  HAL_GPIO_Init(GPIOD, &GPIO_InitStruct);

  /*Configure GPIO pin : PC7 */
  GPIO_InitStruct.Pin = GPIO_PIN_7;
  GPIO_InitStruct.Mode = GPIO_MODE_OUTPUT_PP;
  GPIO_InitStruct.Pull = GPIO_PULLUP;
  GPIO_InitStruct.Speed = GPIO_SPEED_FREQ_VERY_HIGH;
  HAL_GPIO_Init(GPIOC, &GPIO_InitStruct);

  /*Configure GPIO pin : ENC_SW_Pin */
  GPIO_InitStruct.Pin = ENC_SW_Pin;
  GPIO_InitStruct.Mode = GPIO_MODE_INPUT;
  GPIO_InitStruct.Pull = GPIO_PULLDOWN;
  HAL_GPIO_Init(ENC_SW_GPIO_Port, &GPIO_InitStruct);

  /*Configure GPIO pins : ROW3_Pin ROW0_Pin */
  GPIO_InitStruct.Pin = ROW3_Pin|ROW0_Pin;
  GPIO_InitStruct.Mode = GPIO_MODE_OUTPUT_PP;
  GPIO_InitStruct.Pull = GPIO_PULLDOWN;
  GPIO_InitStruct.Speed = GPIO_SPEED_FREQ_LOW;
  HAL_GPIO_Init(GPIOD, &GPIO_InitStruct);

  /*Configure GPIO pin : LOGIC_TRANS_EN_Pin */
  GPIO_InitStruct.Pin = LOGIC_TRANS_EN_Pin;
  GPIO_InitStruct.Mode = GPIO_MODE_OUTPUT_PP;
  GPIO_InitStruct.Pull = GPIO_PULLDOWN;
  GPIO_InitStruct.Speed = GPIO_SPEED_FREQ_LOW;
  HAL_GPIO_Init(LOGIC_TRANS_EN_GPIO_Port, &GPIO_InitStruct);

  /*Configure GPIO pins : PB8 PB9 */
  GPIO_InitStruct.Pin = GPIO_PIN_8|GPIO_PIN_9;
  GPIO_InitStruct.Mode = GPIO_MODE_OUTPUT_PP;
  GPIO_InitStruct.Pull = GPIO_NOPULL;
  GPIO_InitStruct.Speed = GPIO_SPEED_FREQ_LOW;
  HAL_GPIO_Init(GPIOB, &GPIO_InitStruct);

  /* EXTI interrupt init*/
  HAL_NVIC_SetPriority(EXTI13_IRQn, 0, 0);
  HAL_NVIC_EnableIRQ(EXTI13_IRQn);

}

/* USER CODE BEGIN 4 */

void HAL_GPIO_EXTI_Rising_Callback(uint16_t GPIO_Pin)
{
  if(GPIO_Pin == GPIO_PIN_13) {
    High_Perf_Mode ^= 1;
  } else {
      __NOP();
  }
}

/* USER CODE END 4 */

void Error_Handler(void)
{
  __disable_irq();
  while (1)
  {
  }
}
